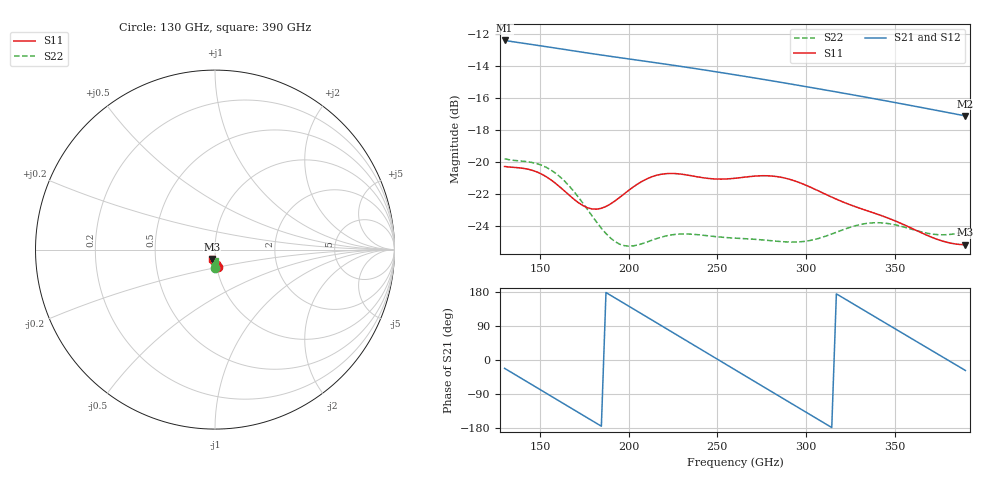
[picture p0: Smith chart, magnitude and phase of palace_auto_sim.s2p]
#  GHZ S DB R 50
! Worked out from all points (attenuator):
!   101 points, 130 GHz to 390 GHz, reference 50 ohm
!   highest |S21| = -12.40 dB at 130 GHz (marker M1); lowest = -17.1 dB at 390 GHz (marker M2)
!   lowest |S11| = -25.1 dB at 390 GHz (marker M3), VSWR 1.12, Z = 48.1 - j5.11 ohm
!   |S11| at or under -10 dB: start of sweep to end of sweep
!   |S22| runs from -25.2 to -19.8 dB; largest |S21 - S12| = 4e-14
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130  -20.26 -78.7  -12.40 -22.1  -12.40 -22.1  -19.78 -89.3
140.4  -20.37 -78.7  -12.57 -51.1  -12.57 -51.1  -19.93 -90.2
150.8  -20.73 -81.2  -12.74 -80.2  -12.74 -80.2  -20.18 -94.4
161.2  -21.54 -82.9  -12.92 -109.3  -12.92 -109.3  -20.90 -100.0
174.2  -22.70 -79.4  -13.14 -145.7  -13.14 -145.7  -22.55 -104.5
184.6  -22.87 -72.6  -13.31 -174.7  -13.31 -174.7  -24.11 -102.7
195  -22.18 -68.4  -13.47 156.2  -13.47 156.2  -25.11 -95.7
208  -21.16 -70.2  -13.67 119.9  -13.67 119.9  -25.06 -87.7
218.4  -20.74 -74.7  -13.84 90.7  -13.84 90.7  -24.67 -85.8
228.8  -20.73 -79.3  -14.01 61.6  -14.01 61.6  -24.47 -86.4
241.8  -20.96 -83.2  -14.22 25.2  -14.22 25.2  -24.55 -87.5
249.6  -21.04 -84.5  -14.36 3.3  -14.36 3.3  -24.64 -87.6
260  -20.99 -86.4  -14.54 -25.8  -14.54 -25.8  -24.73 -87.6
270.4  -20.87 -89.5  -14.73 -54.9  -14.73 -54.9  -24.80 -87.6
280.8  -20.85 -93.9  -14.92 -83.9  -14.92 -83.9  -24.89 -87.5
291.2  -21.07 -98.6  -15.11 -113.0  -15.11 -113.0  -24.97 -86.6
304.2  -21.63 -103.5  -15.36 -149.2  -15.36 -149.2  -24.83 -84.9
322.4  -22.54 -107.2  -15.71 160.1  -15.71 160.1  -24.15 -85.1
335.4  -23.05 -108.8  -15.97 123.9  -15.97 123.9  -23.79 -88.5
348.4  -23.57 -110.4  -16.23 87.7  -16.23 87.7  -23.86 -92.5
371.8  -24.71 -110.5  -16.72 22.8  -16.72 22.8  -24.48 -94.0
390  -25.14 -107.0  -17.10 -27.6  -17.10 -27.6  -24.32 -91.9
